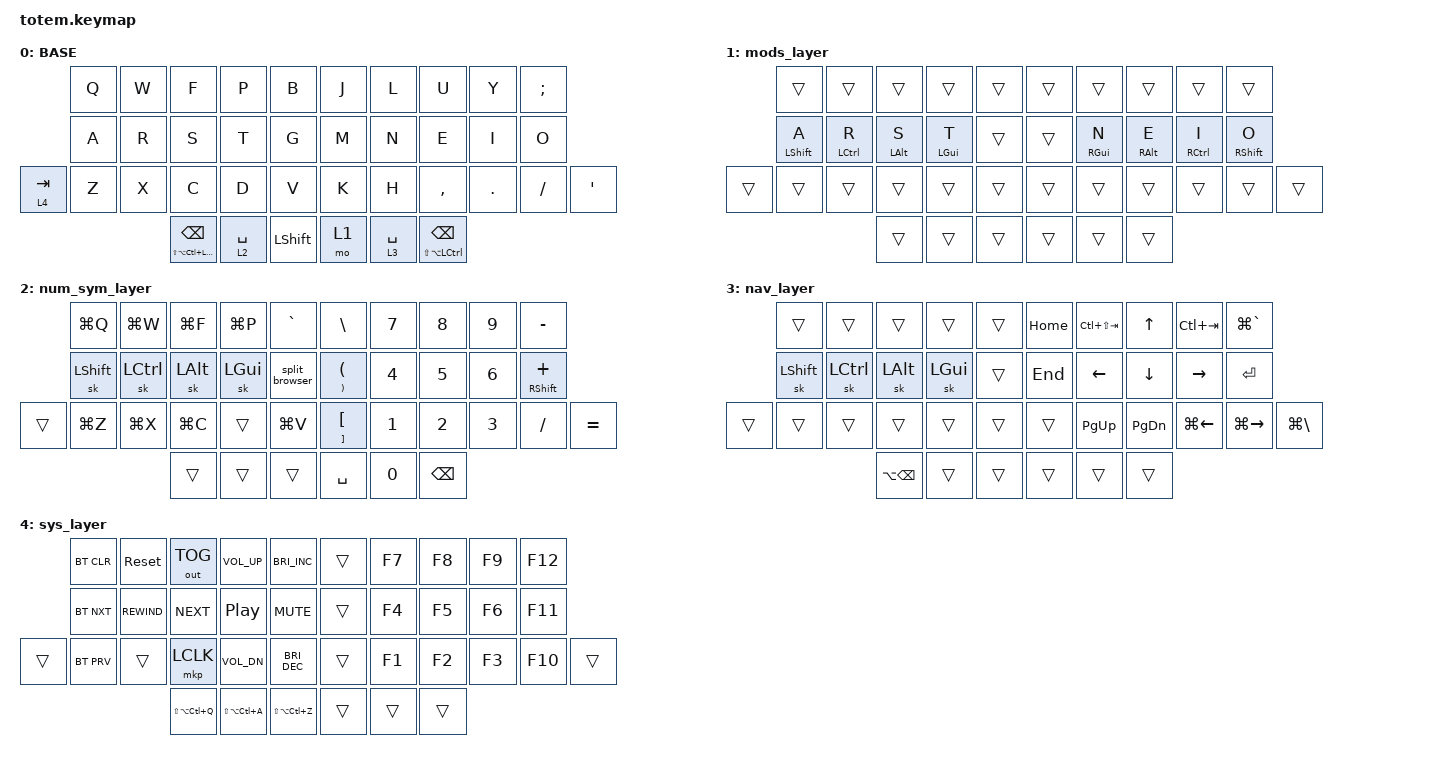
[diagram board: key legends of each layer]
//
//                                                        ▀▀▀▀▀     ▀▀▀▀▀          ▀▀█▀▀
//                                                        ▄▀▀▀▄  ▄  ▄▀▀▀▄  ▄  ▄▀▀▀▄  █  ▄▀▀▀▄
//                                                        █   █  █  █   █  █  █   █  █  █   █
//                                                         ▀▀▀   █   ▀▀▀   █   ▀▀▀   ▀   ▀▀▀
//                                                               █      ▄▄▄█▄▄▄    █   █  
//                                                               ▀      █  █  █     █▄█
//                                                             ▀▀▀▀▀    █  █  █      ▀
//                                                                      ▀  ▀  ▀
//
// ▄▄▄▄▄▄▄▄▄▄▄▄▄▄▄▄▄▄▄▄▄▄▄▄▄▄▄▄▄▄▄▄▄▄▄▄▄▄▄▄▄▄▄▄▄▄▄▄▄▄▄▄▄▄▄▄▄▄▄▄▄▄▄▄▄▄▄▄▄▄▄▄▄▄▄▄▄▄▄▄▄▄▄▄▄▄▄▄▄▄▄▄▄▄▄▄▄▄▄▄▄▄▄▄▄▄▄▄▄▄▄▄▄▄▄▄▄▄▄▄▄▄▄▄▄▄▄▄▄▄▄▄▄▄▄▄▄▄▄▄▄▄▄▄▄▄▄▄▄

#include <behaviors.dtsi>
#include <dt-bindings/zmk/bt.h>
#include <dt-bindings/zmk/keys.h>
#include <dt-bindings/zmk/mouse.h>
#include <dt-bindings/zmk/outputs.h>

#define BASE 0
#define NAV  1
#define SYM  2
#define ADJ  3

&mt {
    quick-tap-ms = <175>;
    global-quick-tap;
    flavor = "balanced";
    tapping-term-ms = <225>;
};

&lt {
    flavor = "balanced";
    tapping-term-ms = <225>;
    quick-tap-ms = <175>;
};

/ {
    combos {
        compatible = "zmk,combos";

        combo_esc {
            timeout-ms = <50>;
            key-positions = <0 1>;
            bindings = <&kp ESC>;
            layers = <0 2 3 1>;
        };

        combo_del {
            bindings = <&kp DEL>;
            key-positions = <32 37>;
            layers = <0 2>;
        };

        combo_screenshot {
            bindings = <&kp LG(LS(N4))>;
            key-positions = <9 8>;
        };

        combo_numlock {
            bindings = <&to 2>;
            key-positions = <27 30>;
            layers = <0>;
        };

        combo_capsword {
            bindings = <&caps_word>;
            key-positions = <10 19>;
            layers = <0>;
        };

        combo_comma {
            bindings = <&kp COMMA>;
            key-positions = <16 17>;
            layers = <2>;
        };

        combo_dot {
            bindings = <&kp DOT>;
            key-positions = <17 18>;
            layers = <2>;
        };

        combo_multiply {
            bindings = <&kp KP_ASTERISK>;
            key-positions = <18 19>;
            layers = <2>;
        };

        combo_exit_numlock {
            bindings = <&to 0>;
            key-positions = <16 19>;
            layers = <2>;
        };

        combo_delword {
            bindings = <&kp LA(BACKSPACE)>;
            key-positions = <36 32>;
            layers = <0>;
        };

        combo_lenter {
            bindings = <&kp ENTER>;
            key-positions = <33 34>;
            layers = <0 1 2 3>;
        };
    };

    behaviors {
        smart_shift: smart_shift {
            compatible = "zmk,behavior-mod-morph";
            label = "SMART_SHIFT";
            bindings = <&sk LSHFT>, <&caps_word>;

            #binding-cells = <0>;
            mods = <(MOD_LSFT)>;
        };

        hml: hml {
            compatible = "zmk,behavior-hold-tap";
            label = "HML";
            bindings = <&kp>, <&kp>;

            #binding-cells = <2>;
            tapping-term-ms = <280>;
            quick-tap-ms = <175>;
            require-prior-idle-ms = <185>;
            flavor = "balanced";
            hold-trigger-on-release;
            hold-trigger-key-positions = <5 6 7 8 9 31 19 18 17 16 15 26 27 28 29 30 32 33 34 35 36 37>;
        };

        hmr: hmr {
            compatible = "zmk,behavior-hold-tap";
            label = "HMR";
            bindings = <&kp>, <&kp>;

            #binding-cells = <2>;
            tapping-term-ms = <280>;
            quick-tap-ms = <175>;
            require-prior-idle-ms = <150>;
            flavor = "balanced";
            hold-trigger-on-release;
            hold-trigger-key-positions = <0 1 2 3 4 10 11 12 13 14 20 21 22 23 24 25 32 33 34 35 36 37>;
        };

        rbkspc: rbkspc {
            compatible = "zmk,behavior-tap-dance";
            label = "RBKSPC";
            #binding-cells = <0>;
            bindings = <&lt 1 BACKSPACE>, <&key_repeat>;
        };

        mods: mods {
            compatible = "zmk,behavior-hold-tap";
            label = "MODS";
            bindings = <&sk>, <&kp>;

            #binding-cells = <2>;
            tapping-term-ms = <150>;
        };
    };

    macros {
        split_browser: split_browser {
            compatible = "zmk,behavior-macro";
            #binding-cells = <0>;
            bindings = <&kp LS(LC(LA(N))) &kp LG(N) &kp LS(LA(LC(I))) &kp LG(L)>;
            label = "SPLIT_BROWSER";
        };
    };

    keymap {
        compatible = "zmk,keymap";

        // ▄▄▄▄▄▄▄▄▄▄▄▄▄▄▄▄▄▄▄▄▄▄▄▄▄▄▄▄▄▄▄▄▄▄▄▄▄▄▄▄▄▄▄▄▄▄▄▄▄▄▄▄▄▄▄▄▄▄▄▄▄▄▄▄▄▄▄▄▄▄▄▄▄▄▄▄▄▄▄▄▄▄▄▄▄▄▄▄▄▄▄▄▄▄▄▄▄▄▄▄▄▄▄▄▄▄▄▄▄▄▄▄▄▄▄▄▄▄▄▄▄▄▄▄▄▄▄▄▄▄▄▄▄▄▄▄▄▄▄▄▄▄▄▄▄▄▄▄▄

        base_layer {
            // ┏━━━━━━━━━━━━━━━━━━━━━━━━━━━━━━━━━━━━━━━┓

            label = "BASE";

            // ┗━━━━━━━━━━━━━━━━━━━━━━━━━━━━━━━━━━━━━━━┛
            //             ┏━━━━━━━━━━━┳━━━━━━━━━━━┳━━━━━━━━━━━┳━━━━━━━━━━━┳━━━━━━━━━━━┓   ┏━━━━━━━━━━━┳━━━━━━━━━━━┳━━━━━━━━━━━┳━━━━━━━━━━━┳━━━━━━━━━━━┓
            //             ┃     Q     ┃     W     ┃     E     ┃     R     ┃     T     ┃   ┃     Y     ┃     U     ┃     I     ┃     O     ┃     P     ┃
            //             ┣━━━━━━━━━━━╋━━━━━━━━━━━╋━━━━━━━━━━━╋━━━━━━━━━━━╋━━━━━━━━━━━┫   ┣━━━━━━━━━━━╋━━━━━━━━━━━╋━━━━━━━━━━━╋━━━━━━━━━━━╋━━━━━━━━━━━┫
            //             ┃     A     ┃     S     ┃     D     ┃     F     ┃     G     ┃   ┃     H     ┃     J     ┃     K     ┃     L     ┃     ;     ┃
            // ┏━━━━━━━━━━━╋━━━━━━━━━━━╋━━━━━━━━━━━╋━━━━━━━━━━━╋━━━━━━━━━━━╋━━━━━━━━━━━┫   ┣━━━━━━━━━━━╋━━━━━━━━━━━╋━━━━━━━━━━━╋━━━━━━━━━━━╋━━━━━━━━━━━╋━━━━━━━━━━━┓
            // ┃     Q     ┃     Z     ┃     X     ┃     C     ┃     V     ┃     B     ┃   ┃     N     ┃     M     ┃     ,     ┃     .     ┃     /     ┃     \     ┃
            // ┗━━━━━━━━━━━┻━━━━━━━━━━━┻━━━━━━━━━━━╋━━━━━━━━━━━╋━━━━━━━━━━━╋━━━━━━━━━━━┫   ┣━━━━━━━━━━━╋━━━━━━━━━━━╋━━━━━━━━━━━╋━━━━━━━━━━━┻━━━━━━━━━━━┻━━━━━━━━━━━┛
            //                                     ┃    DEL    ┃    TAB    ┃    SPC    ┃   ┃   ENTER   ┃           ┃   BSPC    ┃
            //                                     ┗━━━━━━━━━━━┻━━━━━━━━━━━┻━━━━━━━━━━━┛   ┗━━━━━━━━━━━┻━━━━━━━━━━━┻━━━━━━━━━━━┛

            bindings = <
           &kp Q  &kp W  &kp F                               &kp P        &kp B             &kp J  &kp L        &kp U                        &kp Y    &kp SEMI
           &kp A  &kp R  &kp S                               &kp T        &kp G             &kp M  &kp N        &kp E                        &kp I    &kp O
&lt 4 TAB  &kp Z  &kp X  &kp C                               &kp D        &kp V             &kp K  &kp H        &kp COMMA                    &kp DOT  &kp FSLH  &kp SQT
                         &mt LS(LA(LC(LEFT_GUI))) BACKSPACE  &lt 2 SPACE  &kp LEFT_SHIFT    &mo 1  &lt 3 SPACE  &mt LS(LA(LCTRL)) BACKSPACE
            >;
        };

        mods_layer {
            bindings = <
        &trans         &trans                &trans            &trans            &trans    &trans  &trans        &trans        &trans         &trans
        &mods LSHFT A  &mods LEFT_CONTROL R  &mods LEFT_ALT S  &mods LEFT_GUI T  &trans    &trans  &mods RGUI N  &mods RALT E  &mods RCTRL I  &mods RSHFT O
&trans  &trans         &trans                &trans            &trans            &trans    &trans  &trans        &trans        &trans         &trans         &trans
                                             &trans            &trans            &trans    &trans  &trans        &trans
            >;
        };

        num_sym_layer {
            bindings = <
        &kp LG(Q)  &kp LG(W)  &kp LG(F)  &kp LG(P)  &kp GRAVE         &kp BACKSLASH                           &kp NUMBER_7  &kp N8         &kp NUMBER_9  &kp MINUS
        &sk LSHFT  &sk LCTRL  &sk LALT   &sk LGUI   &split_browser    &mt RIGHT_PARENTHESIS LEFT_PARENTHESIS  &kp NUMBER_4  &kp NUMBER_5   &kp NUMBER_6  &mt RIGHT_SHIFT PLUS
&trans  &kp LG(Z)  &kp LG(X)  &kp LG(C)  &trans     &kp LG(V)         &mt RIGHT_BRACKET LEFT_BRACKET          &kp NUMBER_1  &kp NUMBER_2   &kp NUMBER_3  &kp SLASH             &kp EQUAL
                              &trans     &trans     &trans            &kp SPACE                               &kp NUMBER_0  &kp BACKSPACE
            >;
        };

        nav_layer {
            bindings = <
        &trans     &trans     &trans             &trans    &trans    &kp HOME  &kp LC(LS(TAB))  &kp UP         &kp LC(TAB)   &kp LG(GRAVE)
        &sk LSHFT  &sk LCTRL  &sk LALT           &sk LGUI  &trans    &kp END   &kp LEFT         &kp DOWN       &kp RIGHT     &kp ENTER
&trans  &trans     &trans     &trans             &trans    &trans    &trans    &kp PAGE_UP      &kp PAGE_DOWN  &kp LG(LEFT)  &kp LG(RIGHT)  &kp LG(BACKSLASH)
                              &kp LA(BACKSPACE)  &trans    &trans    &trans    &trans           &trans
            >;
        };

        sys_layer {
            bindings = <
        &bt BT_CLR  &sys_reset    &out OUT_TOG       &kp C_VOLUME_UP    &kp C_BRIGHTNESS_INC    &trans  &kp F7  &kp F8  &kp F9  &kp F12
        &bt BT_NXT  &kp C_REWIND  &kp C_NEXT         &kp C_PLAY_PAUSE   &kp C_MUTE              &trans  &kp F4  &kp F5  &kp F6  &kp F11
&trans  &bt BT_PRV  &trans        &mkp LCLK          &kp C_VOL_DN       &kp C_BRIGHTNESS_DEC    &trans  &kp F1  &kp F2  &kp F3  &kp F10  &trans
                                  &kp LS(LA(LC(Q)))  &kp LS(LA(LC(A)))  &kp LS(LA(LC(Z)))       &trans  &trans  &trans
            >;
        };
    };
};
